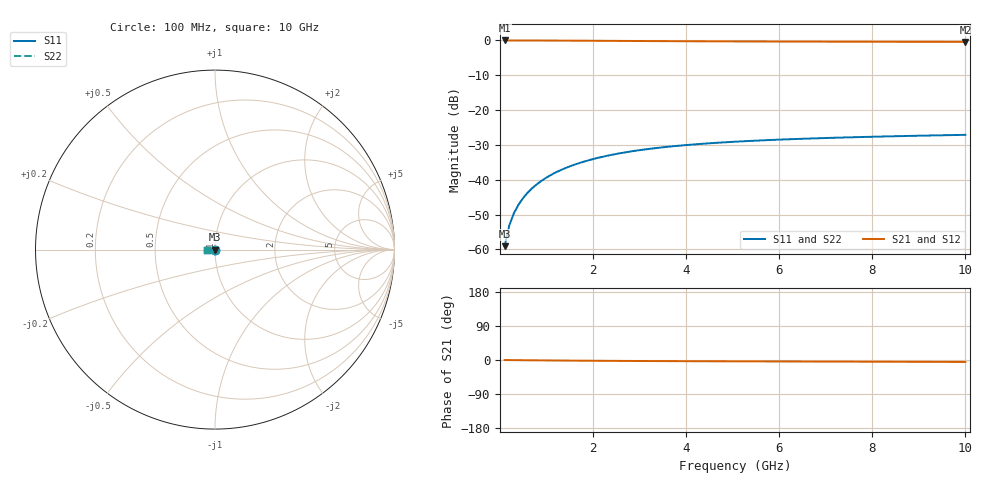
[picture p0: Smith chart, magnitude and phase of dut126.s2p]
! Touchstone file exported from HFSS 2024.1.0
!  File:  C:/UserFiles/LocalFiles/RDL_TSV_Batchsim/temp_TSV1_126_1779379203.aedt
!  Generated:  12:04:57 AM May 22, 2026
!  Design:  TSV1
!  Project:  temp_TSV1_126_1779379203
!  Setup:  Setup1
!  Solution:  Sweep
! Variables:
!  dtsv = 8.85um
!  hbump = 3um
!  htsv = 80.54um
!  lrdl = 252.1521522um
!  p = 40
!  p1 = 44.23um
!  t = 500um
!  trdl = 3um
!  wrdl = 24.89489489um
# GHz S MA R 50.000000
! Terminal data exported
! Port[1] = TSV22_T1
! Port[2] = TSV22_T2
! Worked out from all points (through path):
!   100 points, 100 MHz to 10 GHz, reference 50 ohm
!   highest |S21| = 0.00 dB at 100 MHz (marker M1); lowest = -0.4 dB at 10 GHz (marker M2)
!   lowest |S11| = -59.1 dB at 100 MHz (marker M3), VSWR 1.00, Z = 50 - j0.11 ohm
!   |S11| at or under -10 dB: start of sweep to end of sweep
!   |S22| runs from -59.1 to -27.1 dB; largest |S21 - S12| = 2.6e-15
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0.1  0.001112 -81.9  0.9998 -0.1  0.9998 -0.1  0.001112 -81.9
! Gamma 0 0 0 0
! Port Impedance 50 0 50 0
0.2  0.002207 -88.2  0.9997 -0.2  0.9997 -0.2  0.002207 -88.2
0.3  0.003308 -91.4  0.9995 -0.3  0.9995 -0.3  0.003308 -91.4
0.4  0.004405 -93.9  0.9992 -0.5  0.9992 -0.5  0.004405 -93.9
0.5  0.005495 -96.1  0.999 -0.6  0.999 -0.6  0.005495 -96.1
0.6  0.006575 -98.1  0.9986 -0.7  0.9986 -0.7  0.006575 -98.1
0.7  0.007642 -100.0  0.9982 -0.8  0.9982 -0.8  0.007642 -100.0
0.8  0.008696 -101.8  0.9977 -0.9  0.9977 -0.9  0.008696 -101.8
0.9  0.009733 -103.5  0.9972 -1.0  0.9972 -1.0  0.009733 -103.5
1.1  0.01176 -106.9  0.9961 -1.2  0.9961 -1.2  0.01176 -106.9
1.4  0.01464 -111.7  0.9941 -1.5  0.9941 -1.5  0.01464 -111.7
1.6  0.01646 -114.7  0.9926 -1.7  0.9926 -1.7  0.01646 -114.7
1.8  0.01818 -117.7  0.9911 -1.8  0.9911 -1.8  0.01818 -117.7
2.1  0.02059 -121.9  0.9886 -2.1  0.9886 -2.1  0.02059 -121.9
2.5  0.02347 -127.1  0.9854 -2.4  0.9854 -2.4  0.02347 -127.1
2.9  0.02601 -131.9  0.9822 -2.6  0.9822 -2.6  0.02601 -131.9
3.4  0.02874 -137.3  0.9784 -2.9  0.9784 -2.9  0.02874 -137.3
4.2  0.03227 -145.0  0.973 -3.2  0.973 -3.2  0.03227 -145.0
5.1  0.03531 -152.3  0.9681 -3.5  0.9681 -3.5  0.03531 -152.3
6.7  0.03916 -162.8  0.9616 -4.1  0.9616 -4.1  0.03916 -162.8
8.4  0.04203 -171.8  0.9569 -4.6  0.9569 -4.6  0.04203 -171.8
10  0.04413 -178.8  0.9539 -5.1  0.9539 -5.1  0.04413 -178.8
